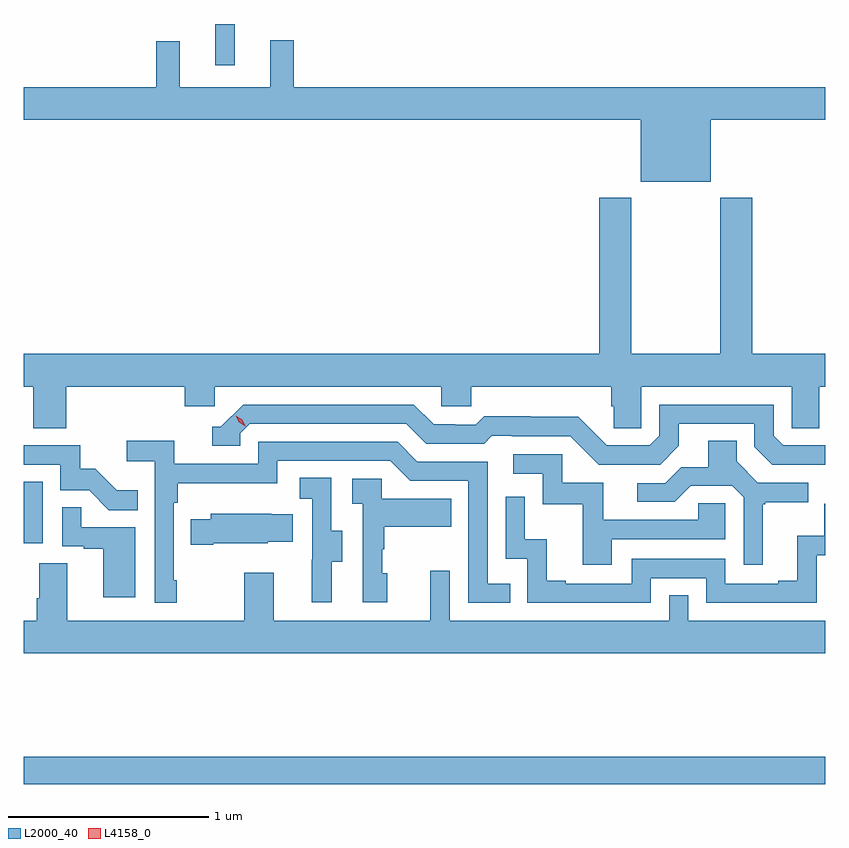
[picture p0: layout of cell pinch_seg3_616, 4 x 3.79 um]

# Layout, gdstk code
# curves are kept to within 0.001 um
import gdstk
lib = gdstk.Library(unit=1e-6, precision=1e-09)
def R(c, l, rs):  # rectangles x0, y0, x1, y1
    for r in rs: c.add(gdstk.rectangle(r[:2], r[2:], *l))
def P(c, l, *ps):  # polygons
    for p in ps: c.add(gdstk.Polygon(p, *l))
L2000_40 = (2000, 40)
L4158_0 = (4158, 0)

pinch_seg3_616 = lib.new_cell('pinch_seg3_616')
R(pinch_seg3_616, L2000_40, [(1053.613,674.956,1057.613,675.092), (1053.613,676.158,1053.706,676.465), (1054.569,678.546,1054.666,678.751), (1054.232,678.749,1054.366,678.751)])
P(pinch_seg3_616, L2000_40, [(1057.042,678.272),(1057.613,678.272),(1057.613,678.436),(1054.961,678.436),(1054.961,678.67),(1054.844,678.67),(1054.844,678.436),(1054.391,678.436),(1054.391,678.664),(1054.273,678.664),(1054.273,678.436),(1053.613,678.436),(1053.613,678.272),(1056.692,678.272),(1056.692,677.963),(1057.042,677.963)],
  [(1053.824,676.94),(1054.415,676.94),(1054.415,676.842),(1054.566,676.842),(1054.566,676.94),(1055.697,676.94),(1055.697,676.842),(1055.847,676.842),(1055.847,676.94),(1056.545,676.94),(1056.545,676.842),(1056.559,676.842),(1056.559,676.732),(1056.696,676.732),(1056.696,676.94),(1057.446,676.94),(1057.446,676.732),(1057.585,676.732),(1057.585,676.94),(1057.613,676.94),(1057.613,677.104),(1057.25,677.104),(1057.25,677.884),(1057.09,677.884),(1057.09,677.104),(1056.645,677.104),(1056.645,677.884),(1056.485,677.884),(1056.485,677.104),(1053.613,677.104),(1053.613,676.94),(1053.659,676.94),(1053.659,676.732),(1053.824,676.732)],
  [(1057.613,676.647),(1057.404,676.647),(1057.356,676.695),(1057.356,676.851),(1056.786,676.851),(1056.786,676.695),(1056.738,676.647),(1056.522,676.647),(1056.38,676.789),(1056.144,676.789),(1056.144,676.792),(1055.911,676.792),(1055.869,676.749),(1055.766,676.749),(1055.766,676.752),(1055.659,676.752),(1055.56,676.851),(1054.707,676.851),(1054.596,676.74),(1054.553,676.74),(1054.553,676.644),(1054.692,676.644),(1054.692,676.707),(1054.74,676.755),(1055.523,676.755),(1055.622,676.656),(1055.911,676.656),(1055.95,676.695),(1056.049,676.695),(1056.049,676.692),(1056.342,676.692),(1056.483,676.551),(1056.789,676.551),(1056.883,676.645),(1056.883,676.755),(1057.26,676.755),(1057.26,676.641),(1057.35,676.551),(1057.613,676.55)],
  [(1054.375,675.973),(1054.362,675.973),(1054.362,676.361),(1054.382,676.361),(1054.382,676.457),(1054.878,676.457),(1054.878,676.569),(1055.442,676.569),(1055.541,676.47),(1055.832,676.47),(1055.832,675.861),(1056.041,675.861),(1056.041,675.957),(1055.928,675.957),(1055.928,676.566),(1055.578,676.566),(1055.479,676.665),(1054.782,676.665),(1054.782,676.554),(1054.364,676.554),(1054.364,676.67),(1054.125,676.67),(1054.125,676.568),(1054.266,676.568),(1054.266,675.861),(1054.375,675.861)],
  [(1057.303,676.353),(1057.315,676.353),(1057.315,676.364),(1057.528,676.364),(1057.528,676.461),(1057.278,676.461),(1057.171,676.568),(1057.171,676.67),(1057.031,676.67),(1057.031,676.538),(1056.896,676.538),(1056.816,676.458),(1056.675,676.458),(1056.675,676.365),(1056.862,676.365),(1056.943,676.446),(1057.149,676.446),(1057.206,676.389),(1057.206,676.05),(1057.303,676.05)],
  [(1054.181,676.423),(1054.077,676.423),(1053.97,676.53),(1053.894,676.53),(1053.894,676.647),(1053.613,676.647),(1053.613,676.551),(1053.795,676.551),(1053.795,676.422),(1053.939,676.422),(1054.037,676.324),(1054.181,676.324)],
  [(1056.547,676.179),(1057.116,676.179),(1057.116,676.359),(1056.979,676.359),(1056.979,676.275),(1056.505,676.275),(1056.505,676.461),(1056.3,676.461),(1056.3,676.602),(1056.057,676.602),(1056.057,676.506),(1056.204,676.506),(1056.204,676.353),(1056.403,676.353),(1056.403,676.05),(1056.547,676.05)],
  [(1055.149,676.066),(1055.203,676.066),(1055.203,676.221),(1055.148,676.221),(1055.148,676.484),(1054.989,676.484),(1054.989,676.381),(1055.052,676.381),(1055.052,676.077),(1055.051,676.077),(1055.051,675.864),(1055.149,675.864)],
  [(1055.428,676.008),(1055.403,676.008),(1055.403,676.127),(1055.413,676.127),(1055.413,676.241),(1055.747,676.241),(1055.747,676.381),(1055.4,676.381),(1055.4,676.479),(1055.253,676.479),(1055.253,676.355),(1055.304,676.355),(1055.304,675.864),(1055.428,675.864)],
  [(1056.744,675.984),(1057.02,675.984),(1057.02,675.861),(1057.572,675.861),(1057.572,676.097),(1057.613,676.097),(1057.613,676.356),(1057.608,676.356),(1057.608,676.195),(1057.475,676.195),(1057.475,675.97),(1057.379,675.97),(1057.379,675.957),(1057.116,675.957),(1057.116,676.08),(1056.648,676.08),(1056.648,675.957),(1056.319,675.957),(1056.319,675.97),(1056.224,675.97),(1056.224,676.178),(1056.114,676.178),(1056.114,676.39),(1056.018,676.39),(1056.018,676.08),(1056.126,676.08),(1056.126,675.861),(1056.744,675.861)],
  [(1054.168,676.239),(1053.899,676.239),(1053.899,676.337),(1053.804,676.337),(1053.804,676.143),(1053.911,676.143),(1053.911,676.131),(1054.01,676.131),(1054.01,675.888),(1054.168,675.888)],
  [(1054.558,676.157),(1054.83,676.157),(1054.83,676.166),(1054.955,676.166),(1054.955,676.303),(1054.847,676.303),(1054.847,676.306),(1054.545,676.306),(1054.545,676.279),(1054.447,676.279),(1054.447,676.15),(1054.558,676.15)],
  [(1057.613,675.772),(1056.93,675.772),(1056.93,675.899),(1056.834,675.899),(1056.834,675.772),(1055.739,675.772),(1055.739,676.021),(1055.642,676.021),(1055.642,675.772),(1054.861,675.772),(1054.861,676.012),(1054.714,676.012),(1054.714,675.772),(1053.829,675.772),(1053.829,676.058),(1053.689,676.058),(1053.689,675.884),(1053.677,675.884),(1053.677,675.772),(1053.613,675.772),(1053.613,675.608),(1057.613,675.608)])
P(pinch_seg3_616, L4158_0, [(1054.717,676.742),(1054.687,676.762),(1054.671,676.795),(1054.671,676.795),(1054.671,676.795),(1054.702,676.775),(1054.718,676.743),(1054.718,676.742)])

lib.write_gds('pinch_seg3_616.gds')
